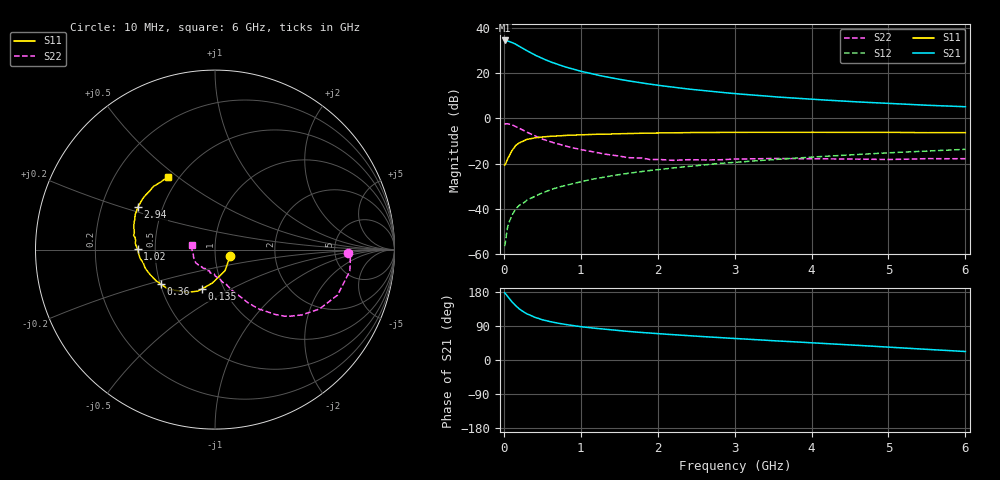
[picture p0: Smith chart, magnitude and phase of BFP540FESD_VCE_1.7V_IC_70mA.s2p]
! Infineon Technologies  Discrete & RF Semiconductors
! BFP540FESD
! VCE =  1.7 V,  IC =  70 mA
! Common Emitter S-Parameters:  Nov 2015
# GHz  S  MA  R  50
!  f  S11  S21  S12  S22
! GHz  MAG  ANG  MAG  ANG  MAG  ANG  MAG  ANG
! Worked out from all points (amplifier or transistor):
!   210 points, 10 MHz to 6 GHz, reference 50 ohm
!   highest |S21| = 34.4 dB at 10 MHz (marker M1)
!   |S21| within 3 dB of that: start of sweep to 221.3 MHz
!   unconditionally stable (mu >= 1): start of sweep to 53.27 MHz; 761.3 MHz to end of sweep
!   at 185 MHz: K = 0.68, MSG = 35.5 dB, |S12| = -38.9 dB
!   at 1.52 GHz: K = 1.11, MAG = 19.0 dB, |S12| = -24.8 dB
!   at 6 GHz: K = 1.23, MAG = 6.5 dB, |S12| = -13.7 dB
!   S11 on the Smith chart (normalised r, x): 10 MHz: 1.18, -0.08; 135 MHz: 0.79, -0.36; 360 MHz: 0.50, -0.22; 1.02 GHz: 0.40, +0.00; 2.94 GHz: 0.36, +0.22; 6 GHz: 0.44, +0.46
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0.01  0.0925 -22.6  52.55 177.6  0.0015 120.7  0.7387 -1.6
0.02  0.0975 -39.3  51.23 175.5  0.0018 104.5  0.7555 -1.2
0.05  0.13 -64.4  51.22 167.6  0.004 86.4  0.7606 -9.0
0.1  0.187 -94.5  48.05 154.7  0.0068 77.5  0.7282 -20.4
0.135  0.2291 -108.0  44.95 147.3  0.0088 76.8  0.6852 -26.7
0.15  0.25 -112.3  43.86 143.9  0.0097 76.6  0.6695 -29.6
0.2  0.2859 -123.6  39.1 134.8  0.012 73.1  0.6047 -37.0
0.26  0.3195 -135.0  34.04 126.6  0.0137 71.1  0.5371 -43.7
0.3  0.3426 -140.6  31.12 121.7  0.0155 69.8  0.4943 -47.0
0.36  0.3576 -147.5  27.48 116.8  0.0175 70.1  0.4442 -50.6
0.4  0.3702 -151.7  25.2 112.8  0.0188 70.2  0.4119 -53.5
0.5  0.3877 -159.0  21 106.2  0.0225 69.1  0.3485 -58.2
0.6  0.4019 -164.9  17.83 101.3  0.0262 69.4  0.3044 -61.2
0.8  0.4206 -173.5  13.66 93.7  0.033 70.9  0.2436 -67.6
1.02  0.4308 179.8  10.8 87.6  0.0404 69.9  0.2009 -72.8
1.5  0.4604 170.1  7.285 77.5  0.0571 67.6  0.1475 -89.3
2.02  0.4758 161.2  5.327 69.2  0.0739 64.5  0.1236 -109.9
2.94  0.49 151.3  3.597 57.5  0.1047 59.2  0.1245 -136.3
3.1  0.491 149.7  3.413 55.7  0.1096 58.0  0.1265 -139.0
4.1  0.4913 142.0  2.581 44.3  0.1426 51.1  0.1279 -154.9
5.1  0.4892 133.2  2.1 32.7  0.1764 42.7  0.124 -171.2
6  0.4836 122.8  1.806 22.4  0.2069 34.8  0.1286 169.3
